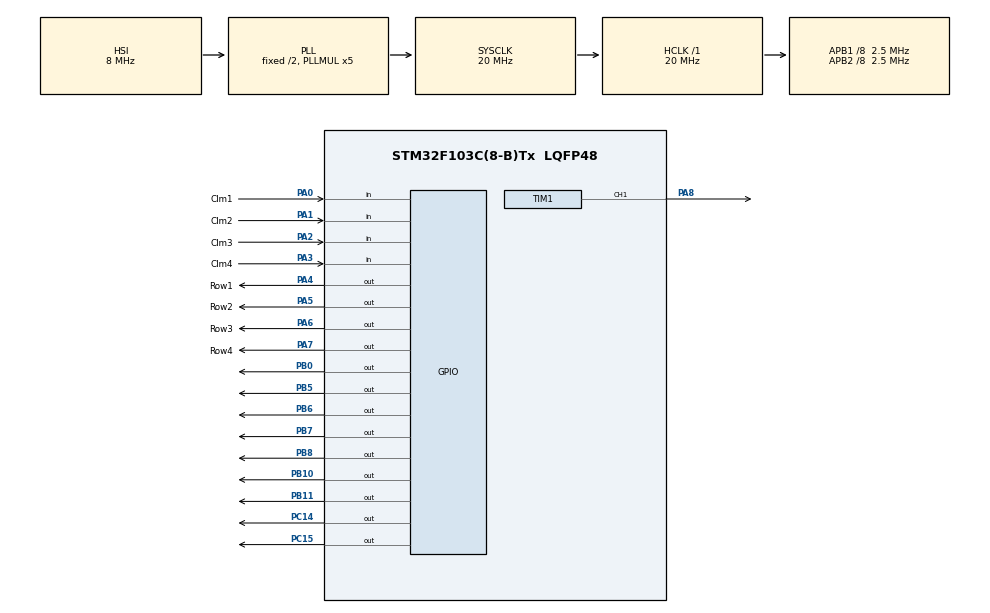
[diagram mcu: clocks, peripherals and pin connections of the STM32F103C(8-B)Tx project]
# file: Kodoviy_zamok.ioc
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Mcu.Family=STM32F1
Mcu.Name=STM32F103C(8-B)Tx
Mcu.Package=LQFP48
NVIC.PriorityGroup=NVIC_PRIORITYGROUP_4
PA0-WKUP.GPIO_Label=Clm1
PA0-WKUP.GPIO_PuPd=GPIO_PULLDOWN
PA0-WKUP.Signal=GPIO_Input
PA1.GPIO_Label=Clm2
PA1.GPIO_PuPd=GPIO_PULLDOWN
PA1.Signal=GPIO_Input
PA2.GPIO_Label=Clm3
PA2.GPIO_PuPd=GPIO_PULLDOWN
PA2.Signal=GPIO_Input
PA3.GPIO_Label=Clm4
PA3.GPIO_PuPd=GPIO_PULLDOWN
PA3.Signal=GPIO_Input
PA4.GPIO_Label=Row1
PA4.Signal=GPIO_Output
PA5.GPIO_Label=Row2
PA5.Signal=GPIO_Output
PA6.GPIO_Label=Row3
PA6.Signal=GPIO_Output
PA7.GPIO_Label=Row4
PA7.Signal=GPIO_Output
PA8.Signal=S_TIM1_CH1
PB0.Signal=GPIO_Output
PB10.Signal=GPIO_Output
PB11.Signal=GPIO_Output
PB5.Signal=GPIO_Output
PB6.Signal=GPIO_Output
PB7.Signal=GPIO_Output
PB8.Signal=GPIO_Output
PC14-OSC32_IN.Signal=GPIO_Output
PC15-OSC32_OUT.Signal=GPIO_Output
ProjectManager.HeapSize=0x200
ProjectManager.StackSize=0x400
ProjectManager.TargetToolchain=SW4STM32
RCC.AHBFreq_Value=20000000
RCC.APB1CLKDivider=RCC_HCLK_DIV8
RCC.APB1Freq_Value=2500000
RCC.APB1TimFreq_Value=5000000
RCC.APB2CLKDivider=RCC_HCLK_DIV8
RCC.APB2Freq_Value=2500000
RCC.APB2TimFreq_Value=5000000
RCC.HCLKFreq_Value=20000000
RCC.PLLMUL=RCC_PLL_MUL5
RCC.SYSCLKFreq_VALUE=20000000
RCC.SYSCLKSource=RCC_SYSCLKSOURCE_PLLCLK
RCC.USBFreq_Value=20000000
SH.S_TIM1_CH1.0=TIM1_CH1,PWM Generation1 CH1
TIM1.Period=65535
VP_TIM1_VS_ClockSourceINT.Mode=Internal
board=Kodoviy_zamok

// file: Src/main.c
/**
  ******************************************************************************
  * File Name          : main.c
  * Description        : Main program body
  ******************************************************************************
  *
  * COPYRIGHT(c) 2016 STMicroelectronics
  *
  * Redistribution and use in source and binary forms, with or without modification,
  * are permitted provided that the following conditions are met:
  *   1. Redistributions of source code must retain the above copyright notice,
  *      this list of conditions and the following disclaimer.
  *   2. Redistributions in binary form must reproduce the above copyright notice,
  *      this list of conditions and the following disclaimer in the documentation
  *      and/or other materials provided with the distribution.
  *   3. Neither the name of STMicroelectronics nor the names of its contributors
  *      may be used to endorse or promote products derived from this software
  *      without specific prior written permission.
  *
  * THIS SOFTWARE IS PROVIDED BY THE COPYRIGHT HOLDERS AND CONTRIBUTORS "AS IS"
  * AND ANY EXPRESS OR IMPLIED WARRANTIES, INCLUDING, BUT NOT LIMITED TO, THE
  * IMPLIED WARRANTIES OF MERCHANTABILITY AND FITNESS FOR A PARTICULAR PURPOSE ARE
  * DISCLAIMED. IN NO EVENT SHALL THE COPYRIGHT HOLDER OR CONTRIBUTORS BE LIABLE
  * FOR ANY DIRECT, INDIRECT, INCIDENTAL, SPECIAL, EXEMPLARY, OR CONSEQUENTIAL
  * DAMAGES (INCLUDING, BUT NOT LIMITED TO, PROCUREMENT OF SUBSTITUTE GOODS OR
  * SERVICES; LOSS OF USE, DATA, OR PROFITS; OR BUSINESS INTERRUPTION) HOWEVER
  * CAUSED AND ON ANY THEORY OF LIABILITY, WHETHER IN CONTRACT, STRICT LIABILITY,
  * OR TORT (INCLUDING NEGLIGENCE OR OTHERWISE) ARISING IN ANY WAY OUT OF THE USE
  * OF THIS SOFTWARE, EVEN IF ADVISED OF THE POSSIBILITY OF SUCH DAMAGE.
  *
  ******************************************************************************
  */
#include "stm32f1xx_hal.h"
#include "tim.h"
#include "gpio.h"

/* USER CODE BEGIN Includes */
#define SERVO_180  800
#define SERVO_0  200

/* USER CODE END Includes */

/* USER CODE BEGIN PV */
/* Private variables ---------------------------------------------------------*/

/* USER CODE END PV */

void SystemClock_Config(void);

/* USER CODE BEGIN PFP */
/* Private function prototypes -----------------------------------------------*/

/* USER CODE END PFP */

/* USER CODE BEGIN 0 */
int fScanButtons();
void zanulS();
void zanulK();
int simvoly[8];
int kod[8];

/* USER CODE END 0 */

int main(void)
{

  /* MCU Configuration----------------------------------------------------------*/

  /* Reset of all peripherals, Initializes the Flash interface and the Systick. */
  HAL_Init();

  /* Configure the system clock */
  SystemClock_Config();

  /* Initialize all configured peripherals */
  MX_GPIO_Init();
  MX_TIM1_Init();

  /* USER CODE BEGIN 2 */

  HAL_TIM_PWM_Start(&htim1, TIM_CHANNEL_1);

     int servo = 0;

     void set_pos(int pos) {

     float tmp = (float)(SERVO_180 - SERVO_0) / 4093 ;

     TIM1 -> CCR1 = ((int) SERVO_0 + tmp * pos)*16;
     }

     int perebor;

         for(perebor = 0;perebor<9;perebor++){
         	simvoly[perebor]=0;
     		kod[perebor]=0;
         }
         int d , dd = 0 , ddd = 0;

  /* USER CODE END 2 */

  /* Infinite loop */
  /* USER CODE BEGIN WHILE */
  while (1)
  {
	  if(dd==0){
	  	    		d = fScanButtons();
	  	    		if(d==11){
	  	    			dd++;
	  	    		}

	  	    	}

	  	    	if(d == 11)
	  	    	{
	  	    		if(kod[0]==0)
	  	    			{
	  	    			  			 	 kod[0] = fScanButtons();

	  	    			  			 }else if(kod[1]==0)
	  	    			  				 	{
	  	    			  				HAL_GPIO_WritePin(GPIOB,GPIO_PIN_0,GPIO_PIN_SET);
	  	    			  				 	 	 kod[1] = fScanButtons();

	  	    			  				 	}else if(kod[2]==0)
	  	    			  				 		{
	  	    			  				 	HAL_GPIO_WritePin(GPIOB,GPIO_PIN_10,GPIO_PIN_SET);
	  	    			  				 				kod[2] = fScanButtons();

	  	    			  				 		}else if(kod[3]==0)
	  	    			  				 			  	{
	  	    			  				 		HAL_GPIO_WritePin(GPIOC,GPIO_PIN_14,GPIO_PIN_SET);
	  	    			  				 			  	kod[3] = fScanButtons();
	  	    			  				 			  	}else if(kod[4]==0)
	  	    			  				 			  		{
	  	    			  				 			  	HAL_GPIO_WritePin(GPIOB,GPIO_PIN_5,GPIO_PIN_SET);
	  	    			  				 		 				kod[4] = fScanButtons();

	  	    			  				 			  		}else if(kod[5]==0)
	  	    			  				 			  		{
	  	    			  				 			  		HAL_GPIO_WritePin(GPIOB,GPIO_PIN_6,GPIO_PIN_SET);
	  	    			  				 			  			kod[5] = fScanButtons();
	  	    			  				 			  		}else if(kod[6]==0)
	  	    			  				 			  		{
	  	    			  				 			  		HAL_GPIO_WritePin(GPIOB,GPIO_PIN_7,GPIO_PIN_SET);
	  	    			  				 			  			kod[6] = fScanButtons();
	  	    			  				 			  		}else if(kod[7]==0)
	  	    			  				 			  		{
	  	    			  				 			  		HAL_GPIO_WritePin(GPIOB,GPIO_PIN_11,GPIO_PIN_SET);
	  	    			  				 			  			kod[7] = fScanButtons();

	  	    			  				 			  		}else if(kod[7]!=0)
	  	    			  				 			  		{
	  	    			  				 			  		HAL_GPIO_WritePin(GPIOC,GPIO_PIN_15,GPIO_PIN_SET);
	  	    			  				 			  		if(ddd==0){

	  	    			  				 			  		//HAL_GPIO_WritePin(GPIOB,GPIO_PIN_5,GPIO_PIN_SET);
	  	    			  				 			  		    kod[8] = fScanButtons();
	  	    			  				 			  		}else{if(){
		  	    			  				 			  		zanulK();
		  	    			  				 			  		}
	  	    			  				 			  		}
	  	    			  				 			  		    if(17 == fScanButtons()){
	  	    			  				 			  		   HAL_GPIO_WritePin(GPIOC,GPIO_PIN_15,GPIO_PIN_SET);
	  	    			  				 			  	HAL_GPIO_WritePin(GPIOB,GPIO_PIN_0,GPIO_PIN_SET);
	  	    			  				 			  	HAL_GPIO_WritePin(GPIOB,GPIO_PIN_10,GPIO_PIN_SET);
	  	    			  				 			  	HAL_GPIO_WritePin(GPIOC,GPIO_PIN_14,GPIO_PIN_SET);
	  	    			  				 			  	HAL_GPIO_WritePin(GPIOB,GPIO_PIN_6,GPIO_PIN_SET);
	  	    			  				 			  	HAL_GPIO_WritePin(GPIOB,GPIO_PIN_7,GPIO_PIN_SET);
	  	    			  				 			  	HAL_GPIO_WritePin(GPIOB,GPIO_PIN_11,GPIO_PIN_SET);
	  	    			  				 			  	HAL_GPIO_WritePin(GPIOB,GPIO_PIN_15,GPIO_PIN_SET);

	  	    	  				 			  		    //kod[8] = fScanButtons();

	  	    	  				 			  		   while (dd==1)

	  	    	  				 			  		     {

	  	    	  				 			  			   set_pos(1500);

	  	    	  				 			  			HAL_GPIO_WritePin(GPIOD,GPIO_PIN_14,GPIO_PIN_SET);
	  	    	  				 			  		    HAL_GPIO_WritePin(GPIOD,GPIO_PIN_13,GPIO_PIN_SET);
	  	    	  				 			  			if(simvoly[0] == 0)
	  	    	  				 			  					 {
	  	    	  				 			  						 simvoly[0] = fScanButtons();
	  	    	  				 			  						 if(simvoly[0] == kod[0]){
	  	    	  				 			  							 HAL_GPIO_WritePin(GPIOD,GPIO_PIN_12,GPIO_PIN_SET);
	  	    	  				 			  						 }else{
	  	    	  				 			  							// zanul();
	  	    	  				 			  						 }

	  	    	  				 			  					 }else if(simvoly[1]==0)
	  	    	  				 			  						 {
	  	    	  				 			  						     simvoly[1] = fScanButtons();
	  	    	  				 			  						     if(simvoly[1] == kod[1]){
	  	    	  				 			  							 HAL_GPIO_WritePin(GPIOD,GPIO_PIN_15,GPIO_PIN_SET);
	  	    	  				 			  						     }else{
	  	    	  	  				 			  							 //zanul();
	  	    	  	  				 			  						 }
	  	    	  				 			  						 }else if(simvoly[2]==0)
	  	    	  				 			  							 	{
	  	    	  				 			  							        simvoly[2] = fScanButtons();
	  	    	  				 			  							        if(simvoly[2] == kod[2]){
	  	    	  				 			  							 		HAL_GPIO_WritePin(GPIOD,GPIO_PIN_13,GPIO_PIN_RESET);
	  	    	  				 			  							        }else{
	  	    	  	  	  				 			  							 //zanul();
	  	    	  	  	  				 			  						 }
	  	    	  				 			  							 	}else if(simvoly[3]==0)
	  	    	  				 			  							 		{
	  	    	  				 			  							 		    simvoly[3] = fScanButtons();
	  	    	  				 			  							 		   if(simvoly[3] == kod[3]){
	  	    	  				 			  							 			HAL_GPIO_WritePin(GPIOD,GPIO_PIN_14,GPIO_PIN_RESET);
	  	    	  				 			  							 		   }else{
	  	    	  		  	  				 			  							// zanul();
	  	    	  		  	  				 			  						 }
	  	    	  				 			  							 		}else if(simvoly[4] == 0)
	  	    	  				  				 			  					 {
	  	    	  				  				 			  						 simvoly[4] = fScanButtons();
	  	    	  				  				 			  						 if(simvoly[4] == kod[4]){
	  	    	  				  				 			  							 HAL_GPIO_WritePin(GPIOD,GPIO_PIN_12,GPIO_PIN_RESET);
	  	    	  				  				 			  						 }else{
	  	    	  		  	  				 			  							 //zanul();
	  	    	  		  	  				 			  						 }
	  	    	  				  				 			  					 }else if(simvoly[5]==0)
	  	    	  				  				 			  						 {
	  	    	  				  				 			  						     simvoly[5] = fScanButtons();
	  	    	  				  				 			  						     if(simvoly[5] == kod[5]){
	  	    	  				  				 			  							 HAL_GPIO_WritePin(GPIOD,GPIO_PIN_15,GPIO_PIN_RESET);
	  	    	  				  				 			  						     }else{
	  	    	  			  	  				 			  							 //zanul();
	  	    	  			  	  				 			  						 }
	  	    	  				  				 			  						 }else if(simvoly[6]==0)
	  	    	  				  				 			  							 	{
	  	    	  				  				 			  							        simvoly[6] = fScanButtons();
	  	    	  				  				 			  							        if(simvoly[6] == kod[6]){
	  	    	  				  				 			  							        HAL_GPIO_WritePin(GPIOD,GPIO_PIN_13,GPIO_PIN_SET);
	  	    	  				  				 			  							        }else{
	  	    	  				  	  	  				 			  							// zanul();
	  	    	  				  	  	  				 			  						 }
	  	    	  				  				 			  							 	}else if(simvoly[7]== 0)
	  	    	  				  				 			  							 		{
	  	    	  				  				 			  							 		    simvoly[7] = fScanButtons();
	  	    	  				  				 			  							 		   if(simvoly[7] == kod[7]){
	  	    	  				  				 			  							 			HAL_GPIO_WritePin(GPIOD,GPIO_PIN_14,GPIO_PIN_SET);
	  	    	  				  				 			  							 		   }else{
	  	    	  				  	  	  				 			  							// zanul();
	  	    	  				  	  	  				 			  						 }

	  	  //  	  				  				 			  							 		   }else if(simvoly[8]== 0)
	  	  //  	  				  				 			  							 		   {
	  	  //  	  				  				 			  							 			   	   simvoly[8] = fScanButtons();
	  	  //  	  				  				 			  							 			   if(simvoly[8] == kod[8]){
	  	  //  	  				  				 			  							 				HAL_GPIO_WritePin(GPIOD,GPIO_PIN_15,GPIO_PIN_SET);

	  	    	  				 			  							 			//simvoly[8] = fScanButtons();
	  	    	  				 			  							 			//if(simvoly[8] == kod[8]){
	  	    	  				 			  							 				HAL_GPIO_WritePin(GPIOD,GPIO_PIN_14,GPIO_PIN_SET);
	  	    	  				 			  							 				HAL_GPIO_WritePin(GPIOD,GPIO_PIN_12,GPIO_PIN_SET);
	  	    	  				 			  							 				HAL_GPIO_WritePin(GPIOD,GPIO_PIN_13,GPIO_PIN_SET);
	  	    	  				 			  							 				HAL_GPIO_WritePin(GPIOD,GPIO_PIN_15,GPIO_PIN_SET);

	  	    	  				 			  							 				//for(perebor =0;perebor< 5;perebor++){
	  	    	  				 			  							 				//	if(simvoly[perebor]==kod[perebor]){

	  	    	  				 			  							 					//}else{
	  	    	  				 			  							 						simvoly[0]= 0;
	  	    	  				 			  							 						simvoly[1]= 0;
	  	    	  				 			  							 						simvoly[2]= 0;
	  	    	  				 			  							 						simvoly[3]= 0;
	  	    	  				 			  							 						simvoly[4]= 0;
	  	    	  				 			  							 						simvoly[5]= 0;
	  	    	  				 			  							 						simvoly[6]= 0;
	  	    	  				 			  							 						simvoly[7]= 0;
	  	    	  				 			  							 						simvoly[8]= 0;

	  	    	  				 			  							 					     dd =0;
	  	    	  				 			  							 					//}
	  	    	  				 			  							 					//simvoly[perebor] = 0;

	  	    	  				 			  							 			//}
	  	    	  				 			  							 		//}
	  	    	  				  				 			  				//}
	  	    	  				  				 			  		}
	  	    	  				 			  		     	 }

	  	    	  				 			  		   }

	  	    	  				 			  	}

	  	    	  				 		}

	    /* USER CODE END WHILE */

	  	      }

	  }

/** System Clock Configuration
*/
void SystemClock_Config(void)
{

  RCC_OscInitTypeDef RCC_OscInitStruct;
  RCC_ClkInitTypeDef RCC_ClkInitStruct;

  RCC_OscInitStruct.OscillatorType = RCC_OSCILLATORTYPE_HSI;
  RCC_OscInitStruct.HSIState = RCC_HSI_ON;
  RCC_OscInitStruct.HSICalibrationValue = 16;
  RCC_OscInitStruct.PLL.PLLState = RCC_PLL_ON;
  RCC_OscInitStruct.PLL.PLLSource = RCC_PLLSOURCE_HSI_DIV2;
  RCC_OscInitStruct.PLL.PLLMUL = RCC_PLL_MUL5;
  HAL_RCC_OscConfig(&RCC_OscInitStruct);

  RCC_ClkInitStruct.ClockType = RCC_CLOCKTYPE_HCLK|RCC_CLOCKTYPE_SYSCLK
                              |RCC_CLOCKTYPE_PCLK1|RCC_CLOCKTYPE_PCLK2;
  RCC_ClkInitStruct.SYSCLKSource = RCC_SYSCLKSOURCE_PLLCLK;
  RCC_ClkInitStruct.AHBCLKDivider = RCC_SYSCLK_DIV1;
  RCC_ClkInitStruct.APB1CLKDivider = RCC_HCLK_DIV8;
  RCC_ClkInitStruct.APB2CLKDivider = RCC_HCLK_DIV8;
  HAL_RCC_ClockConfig(&RCC_ClkInitStruct, FLASH_LATENCY_0);

  HAL_SYSTICK_Config(HAL_RCC_GetHCLKFreq()/1000);

  HAL_SYSTICK_CLKSourceConfig(SYSTICK_CLKSOURCE_HCLK);

  /* SysTick_IRQn interrupt configuration */
  HAL_NVIC_SetPriority(SysTick_IRQn, 0, 0);
}

/* USER CODE BEGIN 4 */ /////////////////////////////////////////////////////////////////////////////////////////////////////////////////////////////////////////////////////////////////////
/////////////////////////////////////////////////////////////////////////////////////////////////////////////////////////////////////////////////////////////////////
void zanulS(){
	int i;
	for(i = 0;i<8;i++){
	    	simvoly[i]=0;
	    }

}
void zanulK(){
	int i;
	for(i = 0;i<8;i++){
	    	kod[i]=0;
	    }
}

//функци¤ сканировани¤ клавиатуры

int fScanButtons()
{
	//unsigned char simvol;
	int i ,j;//объ¤вл¤ю переменные

	for(i=0; i<4; i++)//запускаю цикл дл¤ установки выходов в нуль
	{
		//устанавливаем нужный выход
			if(i==0){
				HAL_GPIO_WritePin(GPIOA,Row4_Pin,GPIO_PIN_SET);
			}
			else {
				HAL_GPIO_WritePin(GPIOA,Row4_Pin,GPIO_PIN_RESET);
			}

			if(i==1){
				HAL_GPIO_WritePin(GPIOA,Row3_Pin,GPIO_PIN_SET);
			}
			else{
				HAL_GPIO_WritePin(GPIOA,Row3_Pin,GPIO_PIN_RESET);
			}

			if(i==2){
				HAL_GPIO_WritePin(GPIOA,Row2_Pin,GPIO_PIN_SET);
			}
			else{
				HAL_GPIO_WritePin(GPIOA,Row2_Pin,GPIO_PIN_RESET);
			}

			if(i==3){
				HAL_GPIO_WritePin(GPIOA,Row1_Pin,GPIO_PIN_SET);
			}
			else{
				HAL_GPIO_WritePin(GPIOA,Row1_Pin,GPIO_PIN_RESET);
			}

		//portd = PORTD;
		//portd = (clm ^ 0xFF);//исключающее или, т.е. там где соответствующие биты равны 1 будет 0.
                //Ќапример, clm = 0b00000001, тогда portd = 0b11111110;
		//PORTD = portd;//записываем в PORTD полученное значение
			j=0;
		for(j=0; j<4; j++)//цикл проверки входов
		{
			switch (j) {
				case 0: if((HAL_GPIO_ReadPin(GPIOA,Clm4_Pin))==GPIO_PIN_SET){
					HAL_Delay(300);
					switch (i) {
							case 0:
								return 17;
								break;
							case 1:
								return 16;
								break;
							case 2:
								return 0;
								break;
							case 3:
								return 15;
								break;
							default:
								break;
						}

					}

					break;
				case 1:
					if((HAL_GPIO_ReadPin(GPIOA,Clm3_Pin))==GPIO_PIN_SET){
						HAL_Delay(300);
						switch (i) {
								case 0:
									return 14;
									break;
								case 1:
									return 9;
									break;
								case 2:
									return 8;
									break;
								case 3:
									return 7;
									break;
								default:
									break;
						}
					}

					break;
				case 2:
					if((HAL_GPIO_ReadPin(GPIOA,Clm2_Pin))==GPIO_PIN_SET){
						HAL_Delay(300);
						switch (i) {
								case 0:
									return 12;
									break;
								case 1:
									return 6;
									break;
								case 2:
									return 5;
									break;
								case 3:
									return 4;
									break;
								default:
									break;
						}
					}

					break;
				case 3:
					if((HAL_GPIO_ReadPin(GPIOA,Clm1_Pin))==GPIO_PIN_SET){
						HAL_Delay(300);
						switch (i) {
								case 0:
									return 11;
									break;
								case 1:
									return 3;
									break;
								case 2:
									return 2;
									break;
								case 3:
									return 1;
									break;
								default:
									break;
						}
					}
					break;
				default:
					break;
			}

			//row=(1<<j);//устанавливаем вход, который будем смотреть
			//portd = (clm | row)^0xFF;//получаем код конкретной кнопки
			//if(portd == PIND)//провер¤ем наличие этого кода

				//return simvol;//если код присутствует, возвращаем его значение
		}
	}

	return 0;//если ничего не совпало, возвращаем 0
}

///////////////////////////////////////////////////////////////////////////////////////////////////////////////////////////////////////////////////////////////////////
///////////////////////////////////////////////////////////////////////////////////////////////////////////////////////////////////////////////////////////////////////
/* USER CODE END 4 */

/************************ (C) COPYRIGHT STMicroelectronics *****END OF FILE****/
